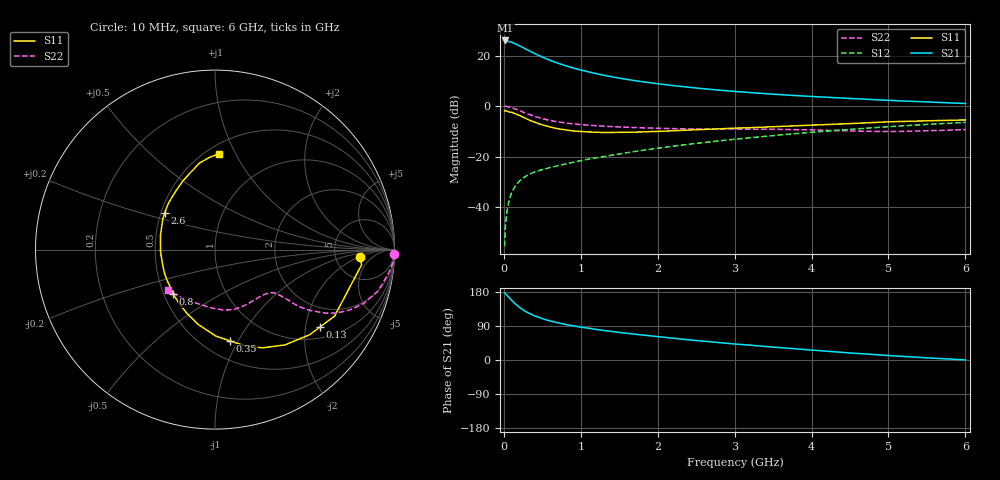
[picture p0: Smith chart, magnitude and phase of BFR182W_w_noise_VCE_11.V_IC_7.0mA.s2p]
! Infineon Technologies  Discrete & RF Semiconductors
! BFR182W
! VCE =  11. V,  IC =  7.0 mA
! Common Emitter S-Parameters:  Jan 2017
# GHz  S  MA  R  50
!  f  S11  S21  S12  S22
! GHz  MAG  ANG  MAG  ANG  MAG  ANG  MAG  ANG
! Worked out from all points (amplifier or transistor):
!   77 points, 10 MHz to 6 GHz, reference 50 ohm
!   highest |S21| = 26.0 dB at 20 MHz (marker M1)
!   |S21| within 3 dB of that: start of sweep to 260.7 MHz
!   unconditionally stable (mu >= 1): 1.23 GHz to 2.756 GHz
!   at 130 MHz: K = 0.22, MSG = 28.7 dB, |S12| = -32.5 dB
!   at 2.2 GHz: K = 1.04, MAG = 10.8 dB, |S12| = -15.8 dB
!   at 6 GHz: K = 0.84, MSG = 3.7 dB, |S12| = -6.4 dB
!   lowest NFmin = 0.95 dB at 450 MHz
!   S11 on the Smith chart (normalised r, x): 10 MHz: 8.88, -2.16; 130 MHz: 1.31, -2.40; 350 MHz: 0.67, -0.93; 800 MHz: 0.56, -0.31; 2.6 GHz: 0.52, +0.24; 6 GHz: 0.57, +0.86
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0.01  0.808 -3.0  19.82 177.0  0.0017 78.9  0.9955 -1.4
0.02  0.8215 -5.9  19.95 175.1  0.004 89.4  0.9989 -3.2
0.05  0.7827 -14.6  19.39 168.4  0.0101 83.7  0.9779 -7.5
0.1  0.7623 -29.1  18.41 157.7  0.0192 75.9  0.9377 -14.2
0.13  0.7262 -36.6  17.59 152.0  0.0236 71.9  0.9029 -17.5
0.15  0.7095 -41.9  17.15 148.0  0.0265 70.0  0.8815 -19.9
0.2  0.6588 -53.7  15.74 139.5  0.0325 66.3  0.8218 -24.2
0.25  0.6076 -64.3  14.42 132.0  0.038 62.5  0.7648 -27.5
0.3  0.5571 -73.4  13.1 126.1  0.0424 59.7  0.7107 -29.9
0.35  0.5151 -80.7  12.02 121.6  0.0462 58.6  0.6689 -31.2
0.4  0.4829 -89.2  11.02 116.3  0.05 57.7  0.6275 -32.7
0.5  0.4274 -102.6  9.348 109.1  0.0556 57.3  0.5663 -34.1
0.6  0.3875 -114.0  8.1 103.1  0.061 56.7  0.5228 -34.5
0.8  0.3404 -133.4  6.341 93.9  0.0718 58.4  0.4659 -34.9
1.1  0.3095 -155.9  4.767 83.8  0.0896 60.9  0.4209 -35.6
1.5  0.3036 -177.9  3.589 72.9  0.1135 62.5  0.3881 -38.5
2.1  0.3207 158.6  2.665 59.6  0.1543 63.1  0.3623 -46.6
2.6  0.3465 144.1  2.208 49.5  0.1908 61.9  0.3535 -55.6
3.1  0.3713 132.3  1.908 40.7  0.2294 59.6  0.3507 -64.9
4.1  0.4275 113.4  1.527 24.7  0.3131 53.1  0.336 -84.4
5.1  0.4946 98.7  1.284 10.6  0.4006 44.3  0.3164 -112.6
6  0.5342 87.8  1.128 0.2  0.4778 35.3  0.3455 -138.9
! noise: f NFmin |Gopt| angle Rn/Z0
0.45  0.95  0.17  35  0.16
0.9  1.04  0.15  63  0.15
1.9  1.57  0.18  174  0.13
2.4  1.84  0.19  -178  0.18
